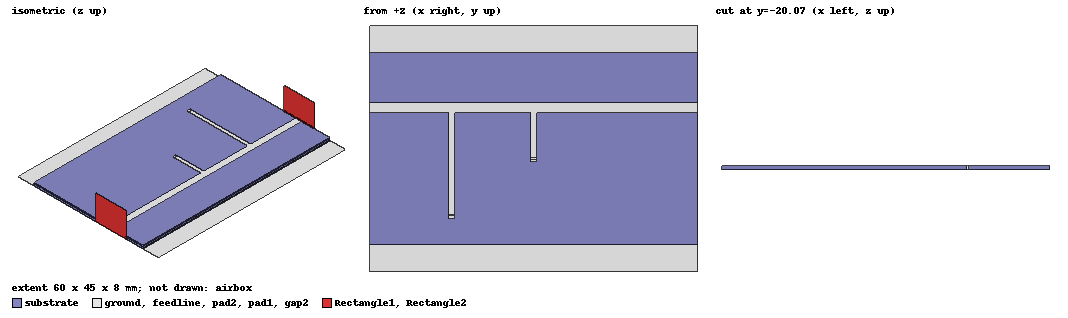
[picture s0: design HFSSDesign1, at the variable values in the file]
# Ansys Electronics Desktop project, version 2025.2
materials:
  vacuum: permittivity=1
  RO4003C_338: permittivity=3.38 permeability=1 dielectric_loss_tangent=0.0027
  pec: conductivity=1e+30

design HFSSDesign1 (HFSS, HFSS Modal Network, model units mm)
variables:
  sub_h = 0.813mm
  w50 = 1.85mm
  wstub = 1mm
  l_stub1 = 18.7mm
  l_stub2 = 8.3mm
  pos1 = 10mm
  pos2 = 25mm
  gap_size = 0.2mm
  pad_l = 0.5mm
  Cvar1 = 0.8pF
  Cvar2 = 0.8pF
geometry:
  ground = rectangle(corner=(-5mm, -30mm, 0mm), x_size=60mm, y_size=45mm)
  substrate [RO4003C_338] = box(corner=(-5mm, -25mm, 0mm), size=(60mm, 35mm, sub_h))
  feedline = rectangle(corner=(-5mm, -w50/2, sub_h), x_size=60mm, y_size=w50)
  stub1 = rectangle(corner=(pos1-wstub/2, -w50/2, sub_h), x_size=wstub, y_size=-l_stub1)
  gap1 = rectangle(corner=(pos1-wstub/2, -w50/2-l_stub1, sub_h), x_size=wstub, y_size=-gap_size)
  pad1 = rectangle(corner=(pos1-wstub/2, -w50/2-l_stub1-gap_size, sub_h), x_size=wstub, y_size=-pad_l)
  via1 [pec] = cylinder(axis=Z, base_centre=(pos1, -w50/2-l_stub1-gap_size-pad_l/2, 0mm), radius=0.15mm, height=sub_h)
  stub2 = rectangle(corner=(pos2-wstub/2, -w50/2, sub_h), x_size=wstub, y_size=-l_stub2)
  gap2 = rectangle(corner=(pos2-wstub/2, -w50/2-l_stub2, sub_h), x_size=wstub, y_size=-gap_size)
  pad2 = rectangle(corner=(pos2-wstub/2, -w50/2-l_stub2-gap_size, sub_h), x_size=wstub, y_size=-pad_l)
  via2 [pec] = cylinder(axis=Z, base_centre=(pos2, -w50/2-l_stub2-gap_size-pad_l/2, 0mm), radius=0.15mm, height=sub_h)
  feedline.unite(stub1, stub2)
  airbox [vacuum] = box(corner=(-5mm, (-10 -37) mm, -37mm), size=(60mm, (20 + 74) mm, sub_h + 74mm))
  Rectangle1 = rectangle(corner=(55mm, -5mm, 0mm), y_size=10mm, z_size=8mm)
  Rectangle2 = rectangle(corner=(-5mm, -5mm, 0mm), y_size=10mm, z_size=8mm)
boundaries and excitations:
  PEC_metal: Perfect E Objects=[ground, feedline, pad1, pad2]
  LumpRLC1: Lumped RLC Objects=gap1 CurrentLine{(9950mm, -19650mm, 813mm) -> (9950mm, -19800mm, 813mm)} RLC_Type=Parallel Resistance=0.6ohm Inductance=0.5nH Capacitance=Cvar1
  LumpRLC2: Lumped RLC Objects=gap2 CurrentLine{(24950mm, -9250mm, 813mm) -> (24950mm, -9400mm, 813mm)} RLC_Type=Parallel Resistance=0.6ohm Inductance=0.5nH Capacitance=Cvar2
  Rad1: Radiation Faces=airbox.face(-y, +z, +y, -z)
  port1: Wave Port Objects=Rectangle1 WavePortType=Modal NumModes=1 Modes{Mode1{IntLine{(55, 0.54054054, 0) -> (55000mm, 540.54054mm, 7872.0787mm)} CharImp=Zpi}}
  port2: Wave Port Objects=Rectangle2 WavePortType=Modal NumModes=1 Modes{Mode1{IntLine{(-5, -0.54054054, 0) -> (-5000mm, -540.54054mm, 7872.0787mm)} CharImp=Zpi}}
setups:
  Setup1: HfssDriven Frequency=5.5GHz MaxDeltaS=0.01 MaximumPasses=15 MinimumPasses=1 MinimumConvergedPasses=1 PercentRefinement=30 BasisOrder=1 PortAccuracy=2 DrivenSolverType="Direct Solver"
    sweep Sweep: 1GHz to 8GHz, 401 points; Type=Interpolating InterpTolerance=0.5 InterpMaxSolns=250 InterpUsePortImped=false PassivityErrorTolerance=0.0001
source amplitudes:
  port1:1: 1W 0deg
  port2:1: 0W 0deg
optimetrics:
  ParametricSetup1: Parametric Sim._Setups=[Setup1]
    sweep Cvar1: LIN 0.3pF 0.6pF 0.05pF
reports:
  S Parameter Plot1: dB(S(port1,port1)) vs Freq on Setup1 : Sweep; dB(S(port2,port1)) vs Freq on Setup1 : Sweep [Cvar1=0.3pF]
